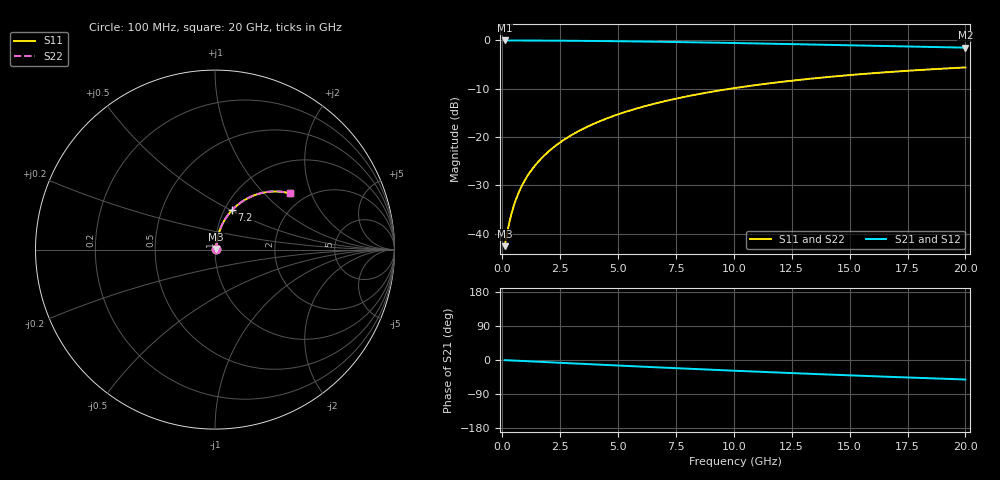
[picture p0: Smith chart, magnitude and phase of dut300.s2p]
! Touchstone file exported from HFSS 2026.1.0
!  File:  C:/ffzhzh/LocalFiles/Ansys_Project_Files/temp_train_BSMRDL_300_1783010444_51716.aedt
!  Generated:  12:42:10 AM Jul  3, 2026
!  Design:  BSMRDL
!  Project:  temp_train_BSMRDL_300_1783010444_51716
! Variables:
!  h_bsmrdl = 3.04um
!  h_ox = 20um
!  h_rdl = 5um
!  h_sub = 80um
!  h_tmrdl = 5um
!  h_tsv = 80um
!  h_via = 3um
!  l_bsmrdl = 738.61um
!  l_sub = 1138.61um
!  l_tmrdl = 200um
!  m_sub = 200um
!  pitch = 43.05um
!  r_tsv = 6um
!  s_tmrdl = 10um
!  w_bsmrdl = 13.51um
!  w_sub = 500um
!  w_tmrdl = 12um
!  x_tsv_center1 = 206um
!  x_tsv_center2 = 958.12um
!  x_tsv_center3 = 1170.12um
!  x_tsv_center4 = 1922.24um
!  x_tsv_center5 = 2134.24um
!  x_tsv_center6 = 2886.36um
# GHz S MA R 50.000000
! Terminal data exported
! Port[1] = BSM_RDL1_1_T1
! Port[2] = BSM_RDL1_1_T2
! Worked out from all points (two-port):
!   200 points, 100 MHz to 20 GHz, reference 50 ohm
!   highest |S21| = -0.06 dB at 100 MHz (marker M1); lowest = -1.5 dB at 20 GHz (marker M2)
!   |S21| within 3 dB of the highest: start of sweep to end of sweep
!   lowest |S11| = -42.6 dB at 100 MHz (marker M3), VSWR 1.01, Z = 50.6 + j0.373 ohm
!   |S11| at or under -10 dB: start of sweep to 9.907 GHz
!   |S22| runs from -42.6 to -5.6 dB; largest |S21 - S12| = 1.9e-15
!   S11 on the Smith chart (normalised r, x): 100 MHz: 1.01, +0.01; 7.2 GHz: 1.09, +0.51; 20 GHz: 1.67, +1.44
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0.1  0.007401 29.8  0.9936 -0.3  0.9936 -0.3  0.007401 29.8
! Gamma 0 0 0 0
! Port Impedance 50 0 50 0
0.3  0.01288 58.2  0.9933 -0.9  0.9933 -0.9  0.01288 58.2
0.4  0.01613 64.0  0.9931 -1.2  0.9931 -1.2  0.01613 64.0
0.5  0.01947 67.7  0.9929 -1.5  0.9929 -1.5  0.01947 67.7
0.6  0.02284 70.2  0.9927 -1.8  0.9927 -1.8  0.02284 70.2
0.8  0.02961 73.4  0.9923 -2.4  0.9923 -2.4  0.02961 73.4
1.1  0.03982 75.8  0.9917 -3.3  0.9917 -3.3  0.03982 75.8
1.3  0.04665 76.7  0.9913 -3.9  0.9913 -3.9  0.04665 76.7
1.6  0.05691 77.4  0.9907 -4.8  0.9907 -4.8  0.0569 77.4
2.1  0.07401 77.6  0.9893 -6.2  0.9893 -6.2  0.07401 77.6
2.7  0.09446 77.0  0.9873 -8.0  0.9873 -8.0  0.09446 77.0
3.5  0.1215 75.6  0.984 -10.3  0.984 -10.3  0.1215 75.6
4.2  0.1448 74.1  0.9805 -12.3  0.9805 -12.3  0.1448 74.1
5  0.1709 72.2  0.9759 -14.6  0.9759 -14.6  0.1709 72.2
5.9  0.1996 69.9  0.9699 -17.2  0.9699 -17.2  0.1996 70.0
6.8  0.2274 67.6  0.9633 -19.7  0.9633 -19.7  0.2274 67.7
7.2  0.2395 66.6  0.9601 -20.8  0.9601 -20.8  0.2395 66.7
8.6  0.2803 63.0  0.9482 -24.6  0.9482 -24.6  0.2803 63.1
10.1  0.3214 59.2  0.9344 -28.5  0.9344 -28.5  0.3213 59.3
13.4  0.4016 51.2  0.9018 -36.7  0.9018 -36.7  0.4016 51.3
16.7  0.4684 43.7  0.8685 -44.4  0.8685 -44.4  0.4684 43.9
20  0.5227 36.8  0.8371 -51.5  0.8371 -51.5  0.5227 37.0
